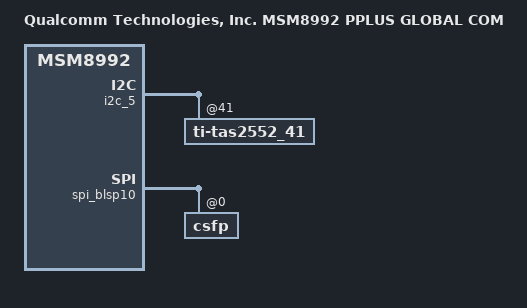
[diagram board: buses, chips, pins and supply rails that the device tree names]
/* Copyright (c) 2014, The Linux Foundation. All rights reserved.
 *
 * This program is free software; you can redistribute it and/or modify
 * it under the terms of the GNU General Public License version 2 and
 * only version 2 as published by the Free Software Foundation.
 *
 * This program is distributed in the hope that it will be useful,
 * but WITHOUT ANY WARRANTY; without even the implied warranty of
 * MERCHANTABILITY or FITNESS FOR A PARTICULAR PURPOSE.  See the
 * GNU General Public License for more details.
 */


/dts-v1/;

#include "../../qcom/msm8992.dtsi"
#include "msm8992-pplus_global_com.dtsi"

/ {
	model = "Qualcomm Technologies, Inc. MSM8992 PPLUS GLOBAL COM";
	compatible = "qcom,msm8992-cdp", "qcom,msm8992", "qcom,cdp";
	qcom,board-id = <0x165 0>;
};

//ADD HERE TO SUPPORT HW CHANGE

&soc {
	i2c_5: i2c@f9967000 {
		ti-tas2552_41@41 {
			status = "ok";
		};
	};
};


/* fingerprint spi master */
&soc {
	spi_blsp12: spi_fpc@f9968000{
		status = "disabled";
	};
};

/* fingerprint fpc1022 */
&spi_blsp12 {
	csfp@0 {
		status = "disabled";
	};
};

/* fingerprint spi master */
&soc {
	spi_blsp10: spi_fpc@f9966000{
		status = "ok";
	};
};

/* fingerprint fpc1022 */
&spi_blsp10 {
	csfp@0 {
		status = "ok";
	};
};
